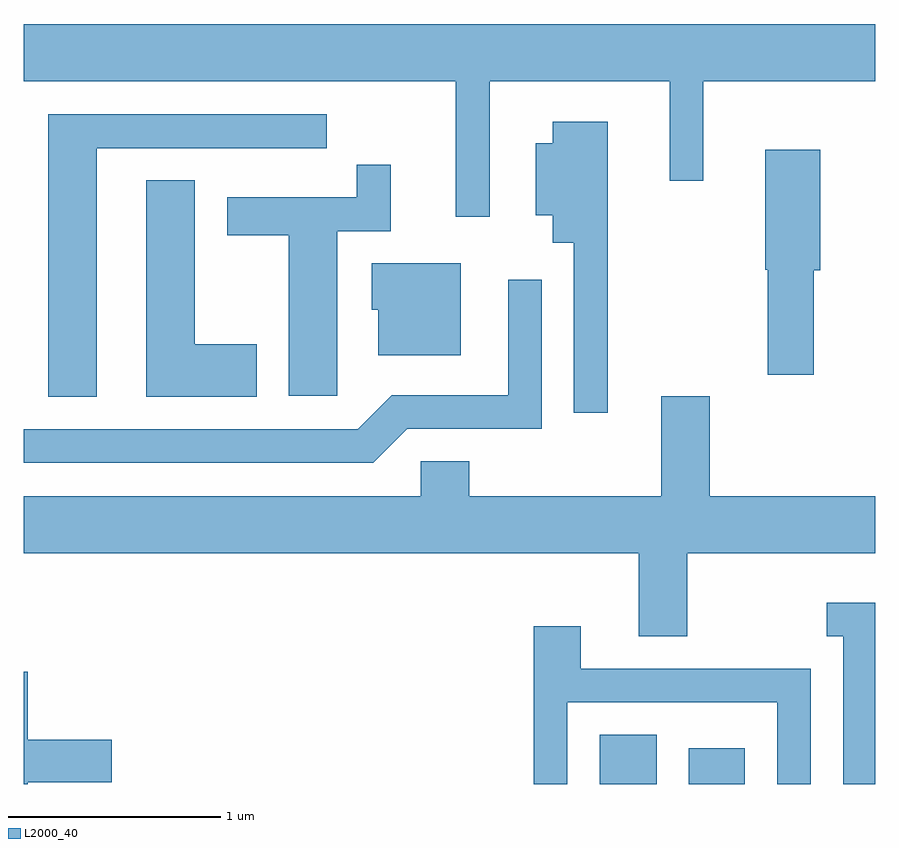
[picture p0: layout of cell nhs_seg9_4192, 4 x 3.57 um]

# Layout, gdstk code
import gdstk
lib = gdstk.Library(unit=1e-6, precision=1e-09)
def R(c, l, rs):  # rectangles x0, y0, x1, y1
    for r in rs: c.add(gdstk.rectangle(r[:2], r[2:], *l))
def P(c, l, *ps):  # polygons
    for p in ps: c.add(gdstk.Polygon(p, *l))
L2000_40 = (2000, 40)

nhs_seg9_4192 = lib.new_cell('nhs_seg9_4192')
R(nhs_seg9_4192, L2000_40, [(310.316,2068.432,310.584,2068.664), (310.736,2068.432,310.999,2068.599)])
P(nhs_seg9_4192, L2000_40, [(309.799,2071.736),(310.646,2071.736),(310.646,2071.268),(310.804,2071.268),(310.804,2071.736),(311.611,2071.736),(311.611,2072.004),(307.611,2072.004),(307.611,2071.736),(309.641,2071.736),(309.641,2071.097),(309.799,2071.097)],
  [(307.954,2071.421),(309.033,2071.421),(309.033,2071.579),(307.726,2071.579),(307.726,2070.251),(307.954,2070.251)],
  [(310.354,2071.544),(310.096,2071.544),(310.096,2071.444),(310.016,2071.444),(310.016,2071.106),(310.096,2071.106),(310.096,2070.976),(310.196,2070.976),(310.196,2070.178),(310.354,2070.178)],
  [(311.324,2070.846),(311.354,2070.846),(311.354,2071.414),(311.096,2071.414),(311.096,2070.85),(311.106,2070.85),(311.106,2070.356),(311.324,2070.356)],
  [(309.084,2071.031),(309.334,2071.031),(309.334,2071.343),(309.176,2071.343),(309.176,2071.189),(308.566,2071.189),(308.566,2071.011),(308.856,2071.011),(308.856,2070.256),(309.084,2070.256)],
  [(308.704,2070.499),(308.414,2070.499),(308.414,2071.269),(308.186,2071.269),(308.186,2070.251),(308.704,2070.251)],
  [(309.664,2070.879),(309.246,2070.879),(309.246,2070.661),(309.276,2070.661),(309.276,2070.446),(309.664,2070.446)],
  [(309.412,2070.101),(310.044,2070.101),(310.044,2070.803),(309.886,2070.803),(309.886,2070.259),(309.339,2070.259),(309.179,2070.099),(307.611,2070.099),(307.611,2069.941),(309.252,2069.941)],
  [(310.729,2069.516),(311.611,2069.516),(311.611,2069.784),(310.834,2069.784),(310.834,2070.254),(310.606,2070.254),(310.606,2069.784),(309.704,2069.784),(309.704,2069.949),(309.476,2069.949),(309.476,2069.784),(307.611,2069.784),(307.611,2069.516),(310.501,2069.516),(310.501,2069.126),(310.729,2069.126)],
  [(311.611,2069.284),(311.383,2069.284),(311.383,2069.126),(311.461,2069.126),(311.461,2068.432),(311.611,2068.432)],
  [(310.164,2068.816),(311.151,2068.816),(311.151,2068.432),(311.309,2068.432),(311.309,2068.974),(310.229,2068.974),(310.229,2069.174),(310.006,2069.174),(310.006,2068.432),(310.164,2068.432)],
  [(307.629,2068.441),(308.024,2068.441),(308.024,2068.639),(307.629,2068.639),(307.629,2068.959),(307.611,2068.959),(307.611,2068.432),(307.629,2068.432)])

lib.write_gds('nhs_seg9_4192.gds')
